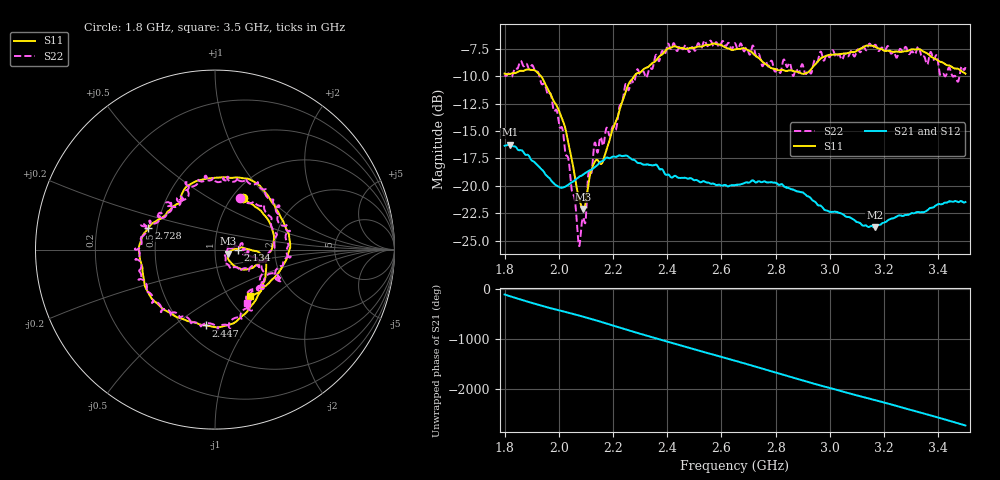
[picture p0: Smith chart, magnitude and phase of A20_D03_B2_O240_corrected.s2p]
! Created with skrf 1.9.0 (http://scikit-rf.org).
# Hz S RI R 50.0
!freq ReS11 ImS11 ReS21 ImS21 ReS12 ImS12 ReS22 ImS22
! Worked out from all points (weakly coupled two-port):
!   1601 points, 1.8 GHz to 3.5 GHz, reference 50 ohm
!   highest |S21| = -16.25 dB at 1.819 GHz (marker M1); lowest = -23.8 dB at 3.165 GHz (marker M2)
!   lowest |S11| = -22.1 dB at 2.09 GHz (marker M3), VSWR 1.17, Z = 58 - j2.74 ohm
!   |S11| at or under -10 dB: 1.934 GHz to 2.278 GHz (343.4 MHz wide, 16.3 % of centre)
!   |S22| runs from -25.5 to -6.7 dB; largest |S21 - S12| = 0.0027
!   S11 on the Smith chart (normalised r, x): 1.8 GHz: 1.13, +0.72; 2.134 GHz: 1.30, -0.00; 2.447 GHz: 0.64, -0.66; 2.728 GHz: 0.45, +0.13; 3.5 GHz: 1.25, -0.73
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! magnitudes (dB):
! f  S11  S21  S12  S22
! 1.8 GHz  -9.8  -16.3  -16.3  -9.9
! 1.819 GHz  -9.8  -16.2  -16.3  -9.8
! 1.903 GHz  -9.4  -17.7  -17.7  -9.0
! 1.968 GHz  -11.6  -19.4  -19.4  -11.6
! 2.015 GHz  -14.0  -20.2  -20.2  -14.9
! 2.072 GHz  -20.9  -19.2  -19.3  -25.1
! 2.084 GHz  -21.8  -19.1  -19.0  -23.6
! 2.09 GHz  -22.1  -19.0  -19.0  -22.9
! 2.134 GHz  -17.8  -18.3  -18.3  -16.0
! 2.163 GHz  -17.7  -17.7  -17.6  -16.3
! 2.209 GHz  -14.2  -17.4  -17.3  -14.9
! 2.261 GHz  -10.5  -17.4  -17.4  -11.0
! 2.367 GHz  -8.3  -18.3  -18.3  -8.6
! 2.447 GHz  -7.4  -19.3  -19.3  -7.2
! 2.65 GHz  -7.6  -19.9  -19.9  -7.0
! 2.728 GHz  -8.2  -19.7  -19.7  -8.1
! 2.934 GHz  -9.3  -21.3  -21.2  -9.6
! 3.165 GHz  -7.3  -23.8  -23.7  -7.2
! 3.217 GHz  -7.7  -23.1  -23.1  -7.4
! 3.327 GHz  -7.5  -22.4  -22.4  -7.3
! 3.468 GHz  -9.3  -21.4  -21.4  -10.3
! 3.5 GHz  -9.8  -21.5  -21.5  -9.2
